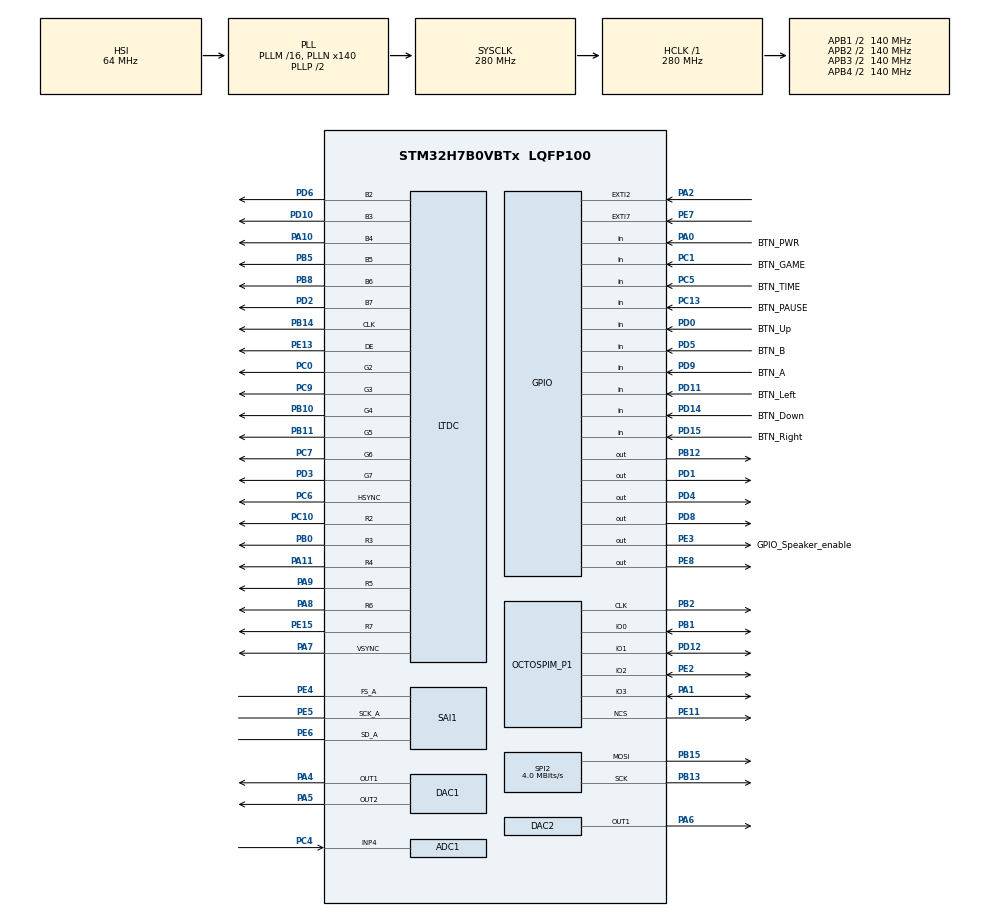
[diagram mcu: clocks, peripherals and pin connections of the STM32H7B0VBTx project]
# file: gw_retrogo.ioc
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SPI2.VirtualType=VM_MASTER
PB10.Mode=RGB666
SAI1.FIFOThreshold-SAI_A_Master=SAI_FIFOTHRESHOLD_FULL
SH.COMP_DAC21_group.0=DAC2_OUT1,DAC_OUT1
VP_RTC_VS_RTC_Activate.Mode=RTC_Enabled
PB13.Signal=SPI2_SCK
SAI1.Instance-SAI_A_Master=SAI$Index_Block_A
RCC.SYSCLKSource=RCC_SYSCLKSOURCE_PLLCLK
RCC.SPI123CLockSelection=RCC_SPI123CLKSOURCE_CLKP
OCTOSPI1.ChipSelectBoundary=0
CORTEX_M7.Enable-Cortex_Memory_Protection_Unit_Region0_Settings=MPU_REGION_ENABLE
RTC.SynchPrediv=255
PE2.Mode=OCTOSPI1_IOL_Port1L
PD4.Signal=GPIO_Output
PC7.Signal=LTDC_G6
PB12.PinState=GPIO_PIN_SET
PD0.Signal=GPIO_Input
PD8.Signal=GPIO_Output
PE5.Signal=SAI1_SCK_A
SH.ADCx_INP4.0=ADC1_INP4,IN4-Single-Ended
PB2.Signal=OCTOSPIM_P1_CLK
RCC.DIVM3=4
PC1.GPIO_PuPd=GPIO_PULLUP
VP_OCTOSPI1_VS_quad.Mode=quad_mode
RCC.DIVM2=25
RCC.DIVM1=16
LTDC.PixelFormat_L0=LTDC_PIXEL_FORMAT_L8
RCC.SAI1CLockSelection=RCC_SAI1CLKSOURCE_PLL2
Dma.SAI1_A.0.Polarity=HAL_DMAMUX_REQ_GEN_RISING
PB14.Mode=RGB666
PC9.Mode=RGB666
SPI2.CalculateBaudRate=4.0 MBits/s
PE2.Signal=OCTOSPIM_P1_IO2
PA8.Signal=LTDC_R6
PD14.GPIO_PuPd=GPIO_PULLUP
PE13.Mode=RGB666
NVIC.SAI1_IRQn=true\:0\:0\:false\:false\:true\:true\:true
PD3.Mode=RGB666
LTDC.HSync=10
ADC1.SamplingTime-0\#ChannelRegularConversion=ADC_SAMPLETIME_1CYCLE_5
PA0.Signal=GPIO_Input
CORTEX_M7.DisableExec-Cortex_Memory_Protection_Unit_Region1_Settings=MPU_INSTRUCTION_ACCESS_DISABLE
Dma.SAI1_A.0.PeriphBurst=DMA_PBURST_SINGLE
Mcu.Package=LQFP100
PB1.Signal=OCTOSPIM_P1_IO0
SPI2.Mode=SPI_MODE_MASTER
RCC.PLL3FRACN=0
PD12.Signal=OCTOSPIM_P1_IO1
PA10.Signal=LTDC_B4
VP_RTC_VS_RTC_Calendar.Mode=RTC_Calendar
Dma.SAI1_A.0.SyncSignalID=NONE
SAI1.VirtualMode-SAI_A_Master=VM_MASTER
NVIC.EXTI2_IRQn=true\:0\:0\:false\:false\:true\:true\:true
LTDC.VSync=2
RCC.APB4Freq_Value=140000000
CORTEX_M7.Enable-Cortex_Memory_Protection_Unit_Region1_Settings=MPU_REGION_ENABLE
PB13.Mode=TX_Only_Simplex_Unidirect_Master
PD9.GPIO_PuPd=GPIO_PULLUP
PD15.Signal=GPIO_Input
Dma.SAI1_A.0.FIFOThreshold=DMA_FIFO_THRESHOLD_FULL
RCC.VDD_VALUE=1.8
DAC1.DAC_Channel-DAC_OUT2=DAC_CHANNEL_2
ADC1.Rank-0\#ChannelRegularConversion=1
PD9.GPIO_Label=BTN_A
VP_SAI1_VP_$IpInstance_SAIA_SAI_BASIC.Mode=SAI_A_BASIC
ADC1.OffsetNumber-0\#ChannelRegularConversion=ADC_OFFSET_NONE
PC13.Signal=GPIO_Input
PD3.Signal=LTDC_G7
PC6.Signal=LTDC_HSYNC
PD1.Signal=GPIO_Output
RCC.DIVP2=5
PC0.Signal=LTDC_G2
PC14-OSC32_IN.Signal=RCC_OSC32_IN
PD6.Mode=RGB666
SAI1.RealAudioFreq-SAI_A_Master=48.0 KHz
LTDC.ImageWidth_L0=320
PD10.Signal=LTDC_B3
PD4.PinState=GPIO_PIN_RESET
RCC.CDPPRE1=RCC_APB1_DIV2
RCC.CDPPRE2=RCC_APB2_DIV2
PB11.Mode=RGB666
Dma.SAI1_A.0.RequestNumber=1
SH.COMP_DAC11_group.0=DAC1_OUT1,DAC_OUT1
PC6.Mode=RGB666
PA9.Signal=LTDC_R5
RCC.DIVN3=9
RCC.DIVN2=192
RCC.DIVN1=140
CORTEX_M7.BaseAddress-Cortex_Memory_Protection_Unit_Region0_Settings=0x30000000
ADC1.OffsetSignedSaturation-0\#ChannelRegularConversion=DISABLE
PB10.Signal=LTDC_G4
PB14.Signal=LTDC_CLK
PA5.Signal=COMP_DAC12_group
Dma.SAI1_A.0.PeriphInc=DMA_PINC_DISABLE
PA1.Mode=OCTOSPI1_IOL_Port1L
PE6.Mode=SAI_A_Master
PE15.Signal=LTDC_R7
PE8.Signal=GPIO_Output
SAI1.MckOutput=SAI_MCK_OUTPUT_DISABLE
CORTEX_M7.AccessPermission-Cortex_Memory_Protection_Unit_Region0_Settings=MPU_REGION_FULL_ACCESS
Dma.SAI1_A.0.SyncRequestNumber=1
RCC.CDPPRE=RCC_APB3_DIV2
OCTOSPI1.FifoThreshold=4
PA4.Signal=COMP_DAC11_group
OCTOSPI1.MemoryType=HAL_OSPI_MEMTYPE_MACRONIX
PB5.Signal=LTDC_B5
ADC1.master=1
PD12.Mode=OCTOSPI1_IOL_Port1L
PD11.Signal=GPIO_Input
PD1.PinState=GPIO_PIN_RESET
LTDC.Alpha_L0=255
PA11.Signal=LTDC_R4
ProjectManager.HeapSize=0x200
PB1.Mode=OCTOSPI1_IOL_Port1L
PD0.GPIO_PuPd=GPIO_PULLUP
NVIC.PriorityGroup=NVIC_PRIORITYGROUP_4
OCTOSPI1.FreeRunningClock=HAL_OSPI_FREERUNCLK_DISABLE
PB8.Mode=RGB666
PE3.Signal=GPIO_Output
PA8.Mode=RGB666
SPI2.DataSize=SPI_DATASIZE_8BIT
PD2.Signal=LTDC_B7
RCC.DIVR3=24
RCC.DIVR2=5
PB0.Signal=LTDC_R3
Dma.SAI1_A.0.FIFOMode=DMA_FIFOMODE_ENABLE
PC1.Signal=GPIO_Input
Dma.SAI1_A.0.Instance=DMA1_Stream0
Dma.SAI1_A.0.PeriphDataAlignment=DMA_PDATAALIGN_HALFWORD
SAI1.InitProtocol-SAI_A_Master=Enable
LTDC.Alpha0_L0=255
PE15.Mode=RGB666
Mcu.Family=STM32H7
RCC.CortexFreq_Value=280000000
OCTOSPI1.DeviceSize=24
LTDC.HBP=51
SH.COMP_DAC12_group.0=DAC1_OUT2,DAC_OUT2
PC10.Signal=LTDC_R2
PA0.GPIO_Label=BTN_PWR
SAI1.VirtualProtocol-SAI_A_BASIC=VM_BASIC_PROTOCOL
PD0.GPIO_Label=BTN_Up
PA11.Mode=RGB666
PC13.GPIO_Label=BTN_PAUSE
PB11.Signal=LTDC_G5
PB15.Signal=SPI2_MOSI
LTDC.PCPolarity=LTDC_PCPOLARITY_IIPC
ProjectManager.StackSize=0x400
PD11.GPIO_PuPd=GPIO_PULLUP
NVIC.ADC_IRQn=true\:0\:0\:false\:false\:true\:true\:true
OCTOSPI1.ClockPrescaler=1
PE11.Mode=OCTOSPI1_Port1_NCS
PD11.GPIO_Label=BTN_Left
RCC.HCLKFreq_Value=280000000
LTDC.WindowX1_L0=320
PD10.Mode=RGB666
Dma.SAI1_A.0.SyncPolarity=HAL_DMAMUX_SYNC_NO_EVENT
SPI2.BaudRatePrescaler=SPI_BAUDRATEPRESCALER_16
PE3.PinState=GPIO_PIN_SET
ADC1.Channel-0\#ChannelRegularConversion=ADC_CHANNEL_4
LTDC.VBP=6
PE13.Signal=LTDC_DE
PC14-OSC32_IN.Mode=LSE-External-Oscillator
OCTOSPI1.ChipSelectHighTime=2
PB5.Mode=RGB666
PC13.GPIO_PuPd=GPIO_PULLUP
Dma.SAI1_A.0.EventEnable=DISABLE
RTC.AsynchPrediv=127
LTDC.HFP=12
PE4.Mode=SAI_A_Master
LTDC.ActiveW=320
PE4.Signal=SAI1_FS_A
CORTEX_M7.DisableExec-Cortex_Memory_Protection_Unit_Region0_Settings=MPU_INSTRUCTION_ACCESS_DISABLE
RCC.APB3Freq_Value=140000000
PA6.Signal=COMP_DAC21_group
CORTEX_M7.BaseAddress-Cortex_Memory_Protection_Unit_Region1_Settings=0x24000000
Dma.SAI1_A.0.MemDataAlignment=DMA_MDATAALIGN_HALFWORD
PD5.GPIO_Label=BTN_B
PD15.GPIO_PuPd=GPIO_PULLUP
CORTEX_M7.Size-Cortex_Memory_Protection_Unit_Region1_Settings=MPU_REGION_SIZE_512KB
NVIC.DMA1_Stream0_IRQn=true\:0\:0\:false\:false\:true\:false\:true
SPI2.Direction=SPI_DIRECTION_2LINES_TXONLY
PC5.Signal=GPIO_Input
PE7.Signal=GPXTI7
PD6.Signal=LTDC_B2
SAI1.MonoStereoMode-SAI_A_Master=SAI_MONOMODE
Dma.Request0=SAI1_A
RCC.SRDPPRE=RCC_APB4_DIV2
PC15-OSC32_OUT.Mode=LSE-External-Oscillator
NVIC.LTDC_IRQn=true\:0\:0\:false\:false\:true\:true\:true
LTDC.FBStartAdress_L0=0x24000000
OCTOSPI1.ClockMode=HAL_OSPI_CLOCK_MODE_0
CORTEX_M7.CPU_ICache=Disabled
LTDC.VFP=8
PD15.GPIO_Label=BTN_Right
LTDC.WindowY1_L0=240
PA7.Mode=RGB666
PA10.Mode=RGB666
Dma.SAI1_A.0.Direction=DMA_MEMORY_TO_PERIPH
RCC.RCC_TIM_PRescaler_Selection=RCC_TIMPRES_ACTIVATED
Dma.SAI1_A.0.SignalID=NONE
SPI2.NSSPMode=SPI_NSS_PULSE_DISABLE
PC4.Signal=ADCx_INP4
PC10.Mode=RGB666
PD9.Signal=GPIO_Input
PD5.Signal=GPIO_Input
PC5.GPIO_PuPd=GPIO_PULLUP
Dma.SAI1_A.0.MemInc=DMA_MINC_ENABLE
PC0.Mode=RGB666
CORTEX_M7.MPU_Control=MPU_HFNMI_PRIVDEF
PA9.Mode=RGB666
ProjectManager.TargetToolchain=Makefile
Dma.SAI1_A.0.Mode=DMA_CIRCULAR
LTDC.ActiveH=240
SAI1.ErrorAudioFreq-SAI_A_Master=0.0 %
RCC.USBFreq_Value=280000000
PE11.Signal=OCTOSPIM_P1_NCS
PC15-OSC32_OUT.Signal=RCC_OSC32_OUT
PA1.Signal=OCTOSPIM_P1_IO3
SAI1.AudioFrequency-SAI_A_Master=SAI_AUDIO_FREQUENCY_48K
Dma.SAI1_A.0.Priority=DMA_PRIORITY_LOW
PD2.Mode=RGB666
PB0.Mode=RGB666
board=custom
PB15.Mode=TX_Only_Simplex_Unidirect_Master
RCC.APB2Freq_Value=140000000
LTDC.Layers=0
PE5.Mode=SAI_A_Master
RCC.ADCFreq_Value=98304000
PC1.GPIO_Label=BTN_GAME
PE7.GPIO_ModeDefaultEXTI=GPIO_MODE_IT_RISING_FALLING
PD5.GPIO_PuPd=GPIO_PULLUP
PD14.GPIO_Label=BTN_Down
PE6.Signal=SAI1_SD_A
Mcu.Name=STM32H7B0VBTx
CORTEX_M7.Size-Cortex_Memory_Protection_Unit_Region0_Settings=MPU_REGION_SIZE_128KB
NVIC.OCTOSPI1_IRQn=true\:0\:0\:false\:true\:true\:1\:true\:true
PA2.Signal=GPXTI2
CORTEX_M7.AccessPermission-Cortex_Memory_Protection_Unit_Region1_Settings=MPU_REGION_FULL_ACCESS
PD14.Signal=GPIO_Input
RCC.SYSCLKFreq_VALUE=280000000
PC5.GPIO_Label=BTN_TIME
PB2.Mode=O1_P1_CLK
RCC.QSPICLockSelection=RCC_OSPICLKSOURCE_CLKP
LTDC.Green_L0=255
NVIC.EXTI9_5_IRQn=true\:0\:0\:false\:false\:true\:true\:true
Dma.SAI1_A.0.MemBurst=DMA_MBURST_SINGLE
PA2.GPIO_ModeDefaultEXTI=GPIO_MODE_IT_RISING_FALLING
ADC1.NbrOfConversionFlag=1
PB8.Signal=LTDC_B6
PE3.GPIO_Label=GPIO_Speaker_enable
PC9.Signal=LTDC_G3
PC7.Mode=RGB666
RCC.APB1Freq_Value=140000000
PD8.PinState=GPIO_PIN_SET
LTDC.ImageHeight_L0=240
PB12.Signal=GPIO_Output
Dma.SAI1_A.0.SyncEnable=DISABLE
PA7.Signal=LTDC_VSYNC

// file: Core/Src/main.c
/* USER CODE BEGIN Header */
/**
  ******************************************************************************
  * @file           : main.c
  * @brief          : Main program body
  ******************************************************************************
  * @attention
  *
  * <h2><center>&copy; Copyright (c) 2020 STMicroelectronics.
  * All rights reserved.</center></h2>
  *
  * This software component is licensed by ST under BSD 3-Clause license,
  * the "License"; You may not use this file except in compliance with the
  * License. You may obtain a copy of the License at:
  *                        opensource.org/licenses/BSD-3-Clause
  *
  ******************************************************************************
  */
/* USER CODE END Header */
#include "main.h"

/* USER CODE BEGIN Includes */
#include "stm32h7xx_hal.h"
#include "gw_buttons.h"
#include "gw_flash.h"
#include "gw_lcd.h"
#include "gw_linker.h"
#include "githash.h"
#include "bq24072.h"

#include "odroid_colors.h"
#include "odroid_overlay.h"

#include <string.h>
#include <assert.h>
#include <stdio.h>
/* USER CODE END Includes */

ADC_HandleTypeDef hadc1;

DAC_HandleTypeDef hdac1;
DAC_HandleTypeDef hdac2;

LTDC_HandleTypeDef hltdc;

OSPI_HandleTypeDef hospi1;

RTC_HandleTypeDef hrtc;

SAI_HandleTypeDef hsai_BlockA1;
DMA_HandleTypeDef hdma_sai1_a;

SPI_HandleTypeDef hspi2;

/* USER CODE BEGIN PV */

char logbuf[1024 * 4];
uint32_t log_idx;

uint32_t boot_buttons;

#define BOOT_MAGIC_STANDBY  0xfedebeda
#define BOOT_MAGIC_RESET    0x1fa1afe1
__attribute__((used)) __attribute__((section (".persistent"))) volatile uint32_t boot_magic;

/* USER CODE END PV */

void SystemClock_Config(void);
static void MPU_Config(void);
static void MX_GPIO_Init(void);
static void MX_DMA_Init(void);
static void MX_LTDC_Init(void);
static void MX_SPI2_Init(void);
static void MX_OCTOSPI1_Init(void);
static void MX_SAI1_Init(void);
static void MX_RTC_Init(void);
static void MX_DAC1_Init(void);
static void MX_DAC2_Init(void);
static void MX_ADC1_Init(void);
static void MX_NVIC_Init(void);
/* USER CODE BEGIN PFP */

void app_main(void);

/* USER CODE END PFP */

/* USER CODE BEGIN 0 */

const char *fault_list[] = {
  [BSOD_ABORT] = "Assert",
  [BSOD_HARDFAULT] = "Hardfault",
  [BSOD_MEMFAULT] = "Memfault",
  [BSOD_BUSFAULT] = "Busfault",
  [BSOD_USAGEFAULT] = "Usagefault",
  [BSOD_OTHER] = "Other",
};

__attribute__((optimize("-O0"))) void BSOD(BSOD_t fault, void *pc, void *lr)
{
  char msg[256];
  size_t i = 0;
  char *start;
  char *end;
  char *line;
  int y = 2*8;

  __disable_irq();

  snprintf(msg, sizeof(msg), "FATAL EXCEPTION: %s %s\nPC=%p LR=%p\n", fault_list[fault], GIT_HASH, pc, lr);

  lcd_sync();
  lcd_reset_active_buffer();

  odroid_overlay_draw_text(0, 0, GW_LCD_WIDTH, msg, C_RED, C_BLUE);

  // Print each line from the log in reverse
  end = &logbuf[strnlen(logbuf, sizeof(logbuf))];
  while (y < GW_LCD_HEIGHT) {
    // Max 28 lines
    if (i++ >= 28) {
      break;
    }

    // Find the last line start not beyond end (inefficient but simple solution)
    start = logbuf;
    while (start < end) {
      line = start;
      start = strnstr(start, "\n", end - start) + 1;
      end[0] = '\x00';
    }
    end = line;

    y += odroid_overlay_draw_text(0, y, GW_LCD_WIDTH, line, C_WHITE, C_BLUE);

    if (line == logbuf) {
      // No more lines to print
      break;
    }
  }

  // Wait for a button press (allows a user to hold and release a button when the BSOD occurs)
  uint32_t old_buttons = buttons_get();
  while ((buttons_get() == 0 || (buttons_get() == old_buttons))) {
    __NOP();
  }

  HAL_NVIC_SystemReset();

  // Does not return
  while (1) {
    __NOP();
  }
}

// Used by assert()
void abort(void)
{
  BSOD(BSOD_ABORT, 0, 0);
}

#if 1
int _write(int file, char *ptr, int len)
{
  if (log_idx + len + 1 > sizeof(logbuf)) {
    log_idx = 0;
  }

  memcpy(&logbuf[log_idx], ptr, len);
  log_idx += len;
  logbuf[log_idx + 1] = '\0';

  return len;
}
#endif

void store_erase(const uint8_t *flash_ptr, size_t size)
{
  uint32_t i;

  // Only allow pointers in the SAVEFLASH allocated area
  assert((flash_ptr >= &__SAVEFLASH_START__) && ((flash_ptr + size) <= &__SAVEFLASH_END__));

  // Convert mem mapped pointer to flash address
  uint32_t save_address = flash_ptr - &__EXTFLASH_START__;

  // Only allow 64kB aligned pointers
  assert((save_address & (64*1024 - 1)) == 0);

  OSPI_DisableMemoryMapped(&hospi1);
  OSPI_NOR_WriteEnable(&hospi1);

  size_t blocks = size / (64 * 1024);
  if ((size & (64*1024 - 1)) != 0) {
    blocks++;
  }

  for (i = 0; i < blocks; i++) {
    OSPI_BlockErase(&hospi1, save_address + i * 64 * 1024);
  }

  OSPI_EnableMemoryMappedMode(&hospi1);
}

void store_save(const uint8_t *flash_ptr, const uint8_t *data, size_t size)
{
  // Convert mem mapped pointer to flash address
  uint32_t save_address = flash_ptr - &__EXTFLASH_START__;

  // Only allow 64kB aligned pointers
  assert((save_address & (64*1024 - 1)) == 0);

  store_erase(flash_ptr, size);

  OSPI_DisableMemoryMapped(&hospi1);
  OSPI_NOR_WriteEnable(&hospi1);

  OSPI_Program(&hospi1, save_address, data, size);

  OSPI_EnableMemoryMappedMode(&hospi1);
}

void GW_EnterDeepSleep(void)
{
  // Stop SAI DMA (audio)
  HAL_SAI_DMAStop(&hsai_BlockA1);

  // Enable wakup by PIN1, the power button
  HAL_PWR_EnableWakeUpPin(PWR_WAKEUP_PIN1_LOW);

  lcd_backlight_off();

  // Leave a trace in RAM that we entered standby mode
  boot_magic = BOOT_MAGIC_STANDBY;

  // Delay 500ms to give us a chance to attach a debugger in case
  // we end up in a suspend-loop.
  HAL_Delay(500);

  HAL_PWR_EnterSTANDBYMode();

  // Execution stops here, this function will not return
  while(1) {
    // If we for some reason survive until here, let's just reboot
    HAL_NVIC_SystemReset();
  }

}

// Returns buttons that were pressed at boot
uint32_t GW_GetBootButtons(void)
{
  return boot_buttons;
}

// Workaround for being able to run with -D_FORTIFY_SOURCE=1
static void memcpy_no_check(uint32_t *dst, uint32_t *src, size_t len)
{
  assert((len & 0b11) == 0);

  uint32_t *end = dst + len / 4;
  while (dst != end) {
    *(dst++) = *(src++);
  }
}

/* USER CODE END 0 */

int main(void)
{
  /* USER CODE BEGIN 1 */

  for(int i = 0; i < 1000000; i++) {
    __NOP();
  }

  // Nullpointer redzone
#pragma GCC diagnostic push
#pragma GCC diagnostic ignored "-Wnonnull"
  memset(0x0, '\x41', (size_t)&__NULLPTR_LENGTH__);
#pragma GCC diagnostic pop

  switch (boot_magic) {
  case BOOT_MAGIC_STANDBY:
    printf("Boot from standby. boot_magic=0x%08lx\n", boot_magic);
    break;
  case BOOT_MAGIC_RESET:
    printf("Boot from warm reset. boot_magic=0x%08lx\n", boot_magic);
    break;
  default:
    printf("Boot from brownout? boot_magic=0x%08lx\n", boot_magic);
    break;
  }

  // Leave a trace that indicates a warm reset
  boot_magic = BOOT_MAGIC_RESET;

  /* USER CODE END 1 */

  /* MPU Configuration--------------------------------------------------------*/
  MPU_Config();

  /* MCU Configuration--------------------------------------------------------*/

  /* Reset of all peripherals, Initializes the Flash interface and the Systick. */
  HAL_Init();

  /* USER CODE BEGIN Init */

  // Power pin as Input
  HAL_PWR_DisableWakeUpPin(PWR_WAKEUP_PIN1_LOW);

  /* USER CODE END Init */

  /* Configure the system clock */
  SystemClock_Config();

  /* Initialize all configured peripherals */
  MX_GPIO_Init();
  MX_DMA_Init();
  MX_LTDC_Init();
  MX_SPI2_Init();
  MX_OCTOSPI1_Init();
  MX_SAI1_Init();
  MX_RTC_Init();
  MX_DAC1_Init();
  MX_DAC2_Init();
  MX_ADC1_Init();

  /* Initialize interrupts */
  MX_NVIC_Init();
  /* USER CODE BEGIN 2 */

  // Save the button states as early as possible
  boot_buttons = buttons_get();

  // Keep this
  HAL_Delay(500);

  lcd_init(&hspi2, &hltdc);

  /* USER CODE END 2 */

  /* Infinite loop */
  /* USER CODE BEGIN WHILE */

  SCB_EnableICache();
  SCB_EnableDCache();

  // Initialize the external flash

  // SPI_MODE or QUAD_MODE (IS25WP128F & co) or HALF_QUAD_MODE (MX25U8035F/Nintendo Stock Flash)
  quad_mode_t quad_mode = HALF_QUAD_MODE;

  OSPI_Init(&hospi1, quad_mode);

  OSPI_EnableMemoryMappedMode(&hospi1);

  // Copy instructions and data from extflash to axiram
  void *copy_areas[3];

  copy_areas[0] = &_siramdata;  // 0x90000000
  copy_areas[1] = &__ram_exec_start__;  // 0x24000000
  copy_areas[2] = &__ram_exec_end__;  // 0x24000000 + length
  memcpy_no_check(copy_areas[1], copy_areas[0], copy_areas[2] - copy_areas[1]);

  // Copy ITCRAM HOT section
  static uint32_t copy_areas2[4] __attribute__((used));
  copy_areas2[0] = (uint32_t) &_sitcram_hot;
  copy_areas2[1] = (uint32_t) &__itcram_hot_start__;
  copy_areas2[2] = (uint32_t) &__itcram_hot_end__;
  copy_areas2[3] = copy_areas2[2] - copy_areas2[1];
  memcpy_no_check((uint32_t *) copy_areas2[1], (uint32_t *) copy_areas2[0], copy_areas2[3]);

  // Sanity check, sometimes this is triggered
  uint32_t add = 0x90000000;
  uint32_t* ptr = (uint32_t*)add;
  if(*ptr == 0x88888888) {
    Error_Handler();
  }

  bq24072_init();

  // Launch the emulator
  app_main();

  while (1)
  {
    /* USER CODE END WHILE */

  }
}

void SystemClock_Config(void)
{
  RCC_OscInitTypeDef RCC_OscInitStruct = {0};
  RCC_ClkInitTypeDef RCC_ClkInitStruct = {0};
  RCC_PeriphCLKInitTypeDef PeriphClkInitStruct = {0};

  /** Supply configuration update enable
  */
  HAL_PWREx_ConfigSupply(PWR_LDO_SUPPLY);
  /** Configure the main internal regulator output voltage
  */
  __HAL_PWR_VOLTAGESCALING_CONFIG(PWR_REGULATOR_VOLTAGE_SCALE0);

  while(!__HAL_PWR_GET_FLAG(PWR_FLAG_VOSRDY)) {}
  /** Macro to configure the PLL clock source
  */
  __HAL_RCC_PLL_PLLSOURCE_CONFIG(RCC_PLLSOURCE_HSI);
  /** Initializes the RCC Oscillators according to the specified parameters
  * in the RCC_OscInitTypeDef structure.
  */
  RCC_OscInitStruct.OscillatorType = RCC_OSCILLATORTYPE_HSI|RCC_OSCILLATORTYPE_LSI;
  RCC_OscInitStruct.HSIState = RCC_HSI_DIV1;
  RCC_OscInitStruct.HSICalibrationValue = RCC_HSICALIBRATION_DEFAULT;
  RCC_OscInitStruct.LSIState = RCC_LSI_ON;
  RCC_OscInitStruct.PLL.PLLState = RCC_PLL_ON;
  RCC_OscInitStruct.PLL.PLLSource = RCC_PLLSOURCE_HSI;
  RCC_OscInitStruct.PLL.PLLM = 16;
  RCC_OscInitStruct.PLL.PLLN = 140;
  RCC_OscInitStruct.PLL.PLLP = 2;
  RCC_OscInitStruct.PLL.PLLQ = 2;
  RCC_OscInitStruct.PLL.PLLR = 2;
  RCC_OscInitStruct.PLL.PLLRGE = RCC_PLL1VCIRANGE_2;
  RCC_OscInitStruct.PLL.PLLVCOSEL = RCC_PLL1VCOWIDE;
  RCC_OscInitStruct.PLL.PLLFRACN = 0;
  if (HAL_RCC_OscConfig(&RCC_OscInitStruct) != HAL_OK)
  {
    Error_Handler();
  }
  /** Initializes the CPU, AHB and APB buses clocks
  */
  RCC_ClkInitStruct.ClockType = RCC_CLOCKTYPE_HCLK|RCC_CLOCKTYPE_SYSCLK
                              |RCC_CLOCKTYPE_PCLK1|RCC_CLOCKTYPE_PCLK2
                              |RCC_CLOCKTYPE_D3PCLK1|RCC_CLOCKTYPE_D1PCLK1;
  RCC_ClkInitStruct.SYSCLKSource = RCC_SYSCLKSOURCE_PLLCLK;
  RCC_ClkInitStruct.SYSCLKDivider = RCC_SYSCLK_DIV1;
  RCC_ClkInitStruct.AHBCLKDivider = RCC_HCLK_DIV1;
  RCC_ClkInitStruct.APB3CLKDivider = RCC_APB3_DIV2;
  RCC_ClkInitStruct.APB1CLKDivider = RCC_APB1_DIV2;
  RCC_ClkInitStruct.APB2CLKDivider = RCC_APB2_DIV2;
  RCC_ClkInitStruct.APB4CLKDivider = RCC_APB4_DIV2;

  if (HAL_RCC_ClockConfig(&RCC_ClkInitStruct, FLASH_LATENCY_7) != HAL_OK)
  {
    Error_Handler();
  }
  PeriphClkInitStruct.PeriphClockSelection = RCC_PERIPHCLK_RTC|RCC_PERIPHCLK_LTDC
                              |RCC_PERIPHCLK_SPI2|RCC_PERIPHCLK_SAI1
                              |RCC_PERIPHCLK_ADC
                              |RCC_PERIPHCLK_OSPI|RCC_PERIPHCLK_CKPER;
  PeriphClkInitStruct.PLL2.PLL2M = 25;
  PeriphClkInitStruct.PLL2.PLL2N = 192;
  PeriphClkInitStruct.PLL2.PLL2P = 5;
  PeriphClkInitStruct.PLL2.PLL2Q = 2;
  PeriphClkInitStruct.PLL2.PLL2R = 5;
  PeriphClkInitStruct.PLL2.PLL2RGE = RCC_PLL2VCIRANGE_1;
  PeriphClkInitStruct.PLL2.PLL2VCOSEL = RCC_PLL2VCOWIDE;
  PeriphClkInitStruct.PLL2.PLL2FRACN = 0;
  PeriphClkInitStruct.PLL3.PLL3M = 4;
  PeriphClkInitStruct.PLL3.PLL3N = 9;
  PeriphClkInitStruct.PLL3.PLL3P = 2;
  PeriphClkInitStruct.PLL3.PLL3Q = 2;
  PeriphClkInitStruct.PLL3.PLL3R = 24;
  PeriphClkInitStruct.PLL3.PLL3RGE = RCC_PLL3VCIRANGE_3;
  PeriphClkInitStruct.PLL3.PLL3VCOSEL = RCC_PLL3VCOWIDE;
  PeriphClkInitStruct.PLL3.PLL3FRACN = 0;
  PeriphClkInitStruct.OspiClockSelection = RCC_OSPICLKSOURCE_CLKP;
  PeriphClkInitStruct.CkperClockSelection = RCC_CLKPSOURCE_HSI;
  PeriphClkInitStruct.Sai1ClockSelection = RCC_SAI1CLKSOURCE_PLL2;
  PeriphClkInitStruct.Spi123ClockSelection = RCC_SPI123CLKSOURCE_CLKP;
  PeriphClkInitStruct.AdcClockSelection = RCC_ADCCLKSOURCE_PLL2;
  PeriphClkInitStruct.RTCClockSelection = RCC_RTCCLKSOURCE_LSI;
  PeriphClkInitStruct.TIMPresSelection = RCC_TIMPRES_ACTIVATED;

  if (HAL_RCCEx_PeriphCLKConfig(&PeriphClkInitStruct) != HAL_OK)
  {
    Error_Handler();
  }
}

/**
  * @brief NVIC Configuration.
  * @retval None
  */
static void MX_NVIC_Init(void)
{
  /* OCTOSPI1_IRQn interrupt configuration */
  HAL_NVIC_SetPriority(OCTOSPI1_IRQn, 0, 0);
  HAL_NVIC_EnableIRQ(OCTOSPI1_IRQn);
}

static void MX_ADC1_Init(void)
{

  ADC_MultiModeTypeDef multimode = {0};
  ADC_ChannelConfTypeDef sConfig = {0};

  /** Common config
  */
  hadc1.Instance = ADC1;
  hadc1.Init.ClockPrescaler = ADC_CLOCK_ASYNC_DIV1;
  hadc1.Init.Resolution = ADC_RESOLUTION_16B;
  hadc1.Init.ScanConvMode = ADC_SCAN_DISABLE;
  hadc1.Init.EOCSelection = ADC_EOC_SINGLE_CONV;
  hadc1.Init.LowPowerAutoWait = DISABLE;
  hadc1.Init.ContinuousConvMode = DISABLE;
  hadc1.Init.NbrOfConversion = 1;
  hadc1.Init.DiscontinuousConvMode = DISABLE;
  hadc1.Init.ExternalTrigConv = ADC_SOFTWARE_START;
  hadc1.Init.ExternalTrigConvEdge = ADC_EXTERNALTRIGCONVEDGE_NONE;
  hadc1.Init.ConversionDataManagement = ADC_CONVERSIONDATA_DR;
  hadc1.Init.Overrun = ADC_OVR_DATA_PRESERVED;
  hadc1.Init.LeftBitShift = ADC_LEFTBITSHIFT_NONE;
  hadc1.Init.OversamplingMode = DISABLE;
  if (HAL_ADC_Init(&hadc1) != HAL_OK)
  {
    Error_Handler();
  }
  /** Configure the ADC multi-mode
  */
  multimode.Mode = ADC_MODE_INDEPENDENT;
  if (HAL_ADCEx_MultiModeConfigChannel(&hadc1, &multimode) != HAL_OK)
  {
    Error_Handler();
  }
  /** Configure Regular Channel
  */
  sConfig.Channel = ADC_CHANNEL_4;
  sConfig.Rank = ADC_REGULAR_RANK_1;
  sConfig.SamplingTime = ADC_SAMPLETIME_1CYCLE_5;
  sConfig.SingleDiff = ADC_SINGLE_ENDED;
  sConfig.OffsetNumber = ADC_OFFSET_NONE;
  sConfig.Offset = 0;
  sConfig.OffsetSignedSaturation = DISABLE;
  if (HAL_ADC_ConfigChannel(&hadc1, &sConfig) != HAL_OK)
  {
    Error_Handler();
  }

}

static void MX_DAC1_Init(void)
{

  DAC_ChannelConfTypeDef sConfig = {0};

  /** DAC Initialization
  */
  hdac1.Instance = DAC1;
  if (HAL_DAC_Init(&hdac1) != HAL_OK)
  {
    Error_Handler();
  }
  /** DAC channel OUT1 config
  */
  sConfig.DAC_SampleAndHold = DAC_SAMPLEANDHOLD_DISABLE;
  sConfig.DAC_Trigger = DAC_TRIGGER_NONE;
  sConfig.DAC_OutputBuffer = DAC_OUTPUTBUFFER_ENABLE;
  sConfig.DAC_ConnectOnChipPeripheral = DAC_CHIPCONNECT_DISABLE;
  sConfig.DAC_UserTrimming = DAC_TRIMMING_FACTORY;
  if (HAL_DAC_ConfigChannel(&hdac1, &sConfig, DAC_CHANNEL_1) != HAL_OK)
  {
    Error_Handler();
  }
  /** DAC channel OUT2 config
  */
  sConfig.DAC_ConnectOnChipPeripheral = DAC_SAMPLEANDHOLD_DISABLE;
  if (HAL_DAC_ConfigChannel(&hdac1, &sConfig, DAC_CHANNEL_2) != HAL_OK)
  {
    Error_Handler();
  }

}

static void MX_DAC2_Init(void)
{

  DAC_ChannelConfTypeDef sConfig = {0};

  /** DAC Initialization
  */
  hdac2.Instance = DAC2;
  if (HAL_DAC_Init(&hdac2) != HAL_OK)
  {
    Error_Handler();
  }
  /** DAC channel OUT1 config
  */
  sConfig.DAC_SampleAndHold = DAC_SAMPLEANDHOLD_DISABLE;
  sConfig.DAC_Trigger = DAC_TRIGGER_NONE;
  sConfig.DAC_OutputBuffer = DAC_OUTPUTBUFFER_ENABLE;
  sConfig.DAC_ConnectOnChipPeripheral = DAC_CHIPCONNECT_DISABLE;
  sConfig.DAC_UserTrimming = DAC_TRIMMING_FACTORY;
  if (HAL_DAC_ConfigChannel(&hdac2, &sConfig, DAC_CHANNEL_1) != HAL_OK)
  {
    Error_Handler();
  }

}

static void MX_LTDC_Init(void)
{

  LTDC_LayerCfgTypeDef pLayerCfg = {0};

  hltdc.Instance = LTDC;
  hltdc.Init.HSPolarity = LTDC_HSPOLARITY_AL;
  hltdc.Init.VSPolarity = LTDC_VSPOLARITY_AL;
  hltdc.Init.DEPolarity = LTDC_DEPOLARITY_AL;
  hltdc.Init.PCPolarity = LTDC_PCPOLARITY_IIPC;
  hltdc.Init.HorizontalSync = 9;
  hltdc.Init.VerticalSync = 1;
  hltdc.Init.AccumulatedHBP = 60;
  hltdc.Init.AccumulatedVBP = 7;
  hltdc.Init.AccumulatedActiveW = 380;
  hltdc.Init.AccumulatedActiveH = 247;
  hltdc.Init.TotalWidth = 392;
  hltdc.Init.TotalHeigh = 255;
  hltdc.Init.Backcolor.Blue = 0;
  hltdc.Init.Backcolor.Green = 0;
  hltdc.Init.Backcolor.Red = 0;
  if (HAL_LTDC_Init(&hltdc) != HAL_OK)
  {
    Error_Handler();
  }
  pLayerCfg.WindowX0 = 0;
  pLayerCfg.WindowX1 = 320;
  pLayerCfg.WindowY0 = 0;
  pLayerCfg.WindowY1 = 240;
#ifdef GW_LCD_MODE_LUT8
  pLayerCfg.PixelFormat = LTDC_PIXEL_FORMAT_L8;
#else
  pLayerCfg.PixelFormat = LTDC_PIXEL_FORMAT_RGB565;
#endif
  pLayerCfg.Alpha = 255;
  pLayerCfg.Alpha0 = 255;
  pLayerCfg.BlendingFactor1 = LTDC_BLENDING_FACTOR1_CA;
  pLayerCfg.BlendingFactor2 = LTDC_BLENDING_FACTOR2_CA;
  pLayerCfg.FBStartAdress = 0x24000000;
  pLayerCfg.ImageWidth = 320;
  pLayerCfg.ImageHeight = 240;
  pLayerCfg.Backcolor.Blue = 0;
  pLayerCfg.Backcolor.Green = 255;
  pLayerCfg.Backcolor.Red = 0;
  if (HAL_LTDC_ConfigLayer(&hltdc, &pLayerCfg, 0) != HAL_OK)
  {
    Error_Handler();
  }

}

static void MX_OCTOSPI1_Init(void)
{

  OSPIM_CfgTypeDef sOspiManagerCfg = {0};

  /* OCTOSPI1 parameter configuration*/
  hospi1.Instance = OCTOSPI1;
  hospi1.Init.FifoThreshold = 4;
  hospi1.Init.DualQuad = HAL_OSPI_DUALQUAD_DISABLE;
  hospi1.Init.MemoryType = HAL_OSPI_MEMTYPE_MACRONIX;
  hospi1.Init.DeviceSize = 24;
  hospi1.Init.ChipSelectHighTime = 2;
  hospi1.Init.FreeRunningClock = HAL_OSPI_FREERUNCLK_DISABLE;
  hospi1.Init.ClockMode = HAL_OSPI_CLOCK_MODE_0;
  hospi1.Init.WrapSize = HAL_OSPI_WRAP_NOT_SUPPORTED;
  hospi1.Init.ClockPrescaler = 1;
  hospi1.Init.SampleShifting = HAL_OSPI_SAMPLE_SHIFTING_NONE;
  hospi1.Init.DelayHoldQuarterCycle = HAL_OSPI_DHQC_DISABLE;
  hospi1.Init.ChipSelectBoundary = 0;
  hospi1.Init.ClkChipSelectHighTime = 0;
  hospi1.Init.DelayBlockBypass = HAL_OSPI_DELAY_BLOCK_BYPASSED;
  hospi1.Init.MaxTran = 0;
  hospi1.Init.Refresh = 0;
  if (HAL_OSPI_Init(&hospi1) != HAL_OK)
  {
    Error_Handler();
  }
  sOspiManagerCfg.ClkPort = 1;
  sOspiManagerCfg.NCSPort = 1;
  sOspiManagerCfg.IOLowPort = HAL_OSPIM_IOPORT_1_LOW;
  if (HAL_OSPIM_Config(&hospi1, &sOspiManagerCfg, HAL_OSPI_TIMEOUT_DEFAULT_VALUE) != HAL_OK)
  {
    Error_Handler();
  }

}

static void MX_RTC_Init(void)
{

  RTC_TimeTypeDef sTime = {0};
  RTC_DateTypeDef sDate = {0};

  /** Initialize RTC Only
  */
  hrtc.Instance = RTC;
  hrtc.Init.HourFormat = RTC_HOURFORMAT_24;
  hrtc.Init.AsynchPrediv = 0;    // Currently this is configured to allow for profiling
  hrtc.Init.SynchPrediv = 32250; // This the internal 32khz oscillator calibrated to one specific unit
  hrtc.Init.OutPut = RTC_OUTPUT_DISABLE;
  hrtc.Init.OutPutPolarity = RTC_OUTPUT_POLARITY_HIGH;
  hrtc.Init.OutPutType = RTC_OUTPUT_TYPE_OPENDRAIN;
  hrtc.Init.OutPutRemap = RTC_OUTPUT_REMAP_NONE;
  if (HAL_RTC_Init(&hrtc) != HAL_OK)
  {
    Error_Handler();
  }

  /** Initialize RTC and set the Time and Date
  */
  sTime.Hours = 0x0;
  sTime.Minutes = 0x0;
  sTime.Seconds = 0x0;
  sTime.DayLightSaving = RTC_DAYLIGHTSAVING_NONE;
  sTime.StoreOperation = RTC_STOREOPERATION_RESET;
  if (HAL_RTC_SetTime(&hrtc, &sTime, RTC_FORMAT_BCD) != HAL_OK)
  {
    Error_Handler();
  }
  sDate.WeekDay = RTC_WEEKDAY_MONDAY;
  sDate.Month = RTC_MONTH_JANUARY;
  sDate.Date = 0x1;
  sDate.Year = 0x0;

  if (HAL_RTC_SetDate(&hrtc, &sDate, RTC_FORMAT_BCD) != HAL_OK)
  {
    Error_Handler();
  }

}

static void MX_SAI1_Init(void)
{

  hsai_BlockA1.Instance = SAI1_Block_A;
  hsai_BlockA1.Init.AudioMode = SAI_MODEMASTER_TX;
  hsai_BlockA1.Init.Synchro = SAI_ASYNCHRONOUS;
  hsai_BlockA1.Init.OutputDrive = SAI_OUTPUTDRIVE_DISABLE;
  hsai_BlockA1.Init.NoDivider = SAI_MASTERDIVIDER_ENABLE;
  hsai_BlockA1.Init.FIFOThreshold = SAI_FIFOTHRESHOLD_FULL;
  hsai_BlockA1.Init.AudioFrequency = SAI_AUDIO_FREQUENCY_48K;
  hsai_BlockA1.Init.SynchroExt = SAI_SYNCEXT_DISABLE;
  hsai_BlockA1.Init.MonoStereoMode = SAI_MONOMODE;
  hsai_BlockA1.Init.CompandingMode = SAI_NOCOMPANDING;
  hsai_BlockA1.Init.TriState = SAI_OUTPUT_NOTRELEASED;
  if (HAL_SAI_InitProtocol(&hsai_BlockA1, SAI_I2S_STANDARD, SAI_PROTOCOL_DATASIZE_16BIT, 2) != HAL_OK)
  {
    Error_Handler();
  }

}

static void MX_SPI2_Init(void)
{

  /* SPI2 parameter configuration*/
  hspi2.Instance = SPI2;
  hspi2.Init.Mode = SPI_MODE_MASTER;
  hspi2.Init.Direction = SPI_DIRECTION_2LINES_TXONLY;
  hspi2.Init.DataSize = SPI_DATASIZE_8BIT;
  hspi2.Init.CLKPolarity = SPI_POLARITY_LOW;
  hspi2.Init.CLKPhase = SPI_PHASE_1EDGE;
  hspi2.Init.NSS = SPI_NSS_SOFT;
  hspi2.Init.BaudRatePrescaler = SPI_BAUDRATEPRESCALER_16;
  hspi2.Init.FirstBit = SPI_FIRSTBIT_MSB;
  hspi2.Init.TIMode = SPI_TIMODE_DISABLE;
  hspi2.Init.CRCCalculation = SPI_CRCCALCULATION_DISABLE;
  hspi2.Init.CRCPolynomial = 0x0;
  hspi2.Init.NSSPMode = SPI_NSS_PULSE_DISABLE;
  hspi2.Init.NSSPolarity = SPI_NSS_POLARITY_LOW;
  hspi2.Init.FifoThreshold = SPI_FIFO_THRESHOLD_01DATA;
  hspi2.Init.TxCRCInitializationPattern = SPI_CRC_INITIALIZATION_ALL_ZERO_PATTERN;
  hspi2.Init.RxCRCInitializationPattern = SPI_CRC_INITIALIZATION_ALL_ZERO_PATTERN;
  hspi2.Init.MasterSSIdleness = SPI_MASTER_SS_IDLENESS_00CYCLE;
  hspi2.Init.MasterInterDataIdleness = SPI_MASTER_INTERDATA_IDLENESS_00CYCLE;
  hspi2.Init.MasterReceiverAutoSusp = SPI_MASTER_RX_AUTOSUSP_DISABLE;
  hspi2.Init.MasterKeepIOState = SPI_MASTER_KEEP_IO_STATE_DISABLE;
  hspi2.Init.IOSwap = SPI_IO_SWAP_DISABLE;
  if (HAL_SPI_Init(&hspi2) != HAL_OK)
  {
    Error_Handler();
  }

}

static void MX_DMA_Init(void)
{

  /* DMA controller clock enable */
  __HAL_RCC_DMA1_CLK_ENABLE();

  /* DMA interrupt init */
  /* DMA1_Stream0_IRQn interrupt configuration */
  HAL_NVIC_SetPriority(DMA1_Stream0_IRQn, 0, 0);
  HAL_NVIC_EnableIRQ(DMA1_Stream0_IRQn);

}

static void MX_GPIO_Init(void)
{
  GPIO_InitTypeDef GPIO_InitStruct = {0};

  /* GPIO Ports Clock Enable */
  __HAL_RCC_GPIOE_CLK_ENABLE();
  __HAL_RCC_GPIOC_CLK_ENABLE();
  __HAL_RCC_GPIOA_CLK_ENABLE();
  __HAL_RCC_GPIOB_CLK_ENABLE();
  __HAL_RCC_GPIOD_CLK_ENABLE();

  /*Configure GPIO pin Output Level */
  HAL_GPIO_WritePin(GPIO_Speaker_enable_GPIO_Port, GPIO_Speaker_enable_Pin, GPIO_PIN_SET);

  /*Configure GPIO pin Output Level */
  HAL_GPIO_WritePin(GPIOB, GPIO_PIN_12, GPIO_PIN_SET);

  /*Configure GPIO pin Output Level */
  HAL_GPIO_WritePin(GPIOD, GPIO_PIN_8, GPIO_PIN_SET);

  /*Configure GPIO pin Output Level */
  HAL_GPIO_WritePin(GPIOD, GPIO_PIN_1|GPIO_PIN_4, GPIO_PIN_RESET);

  /*Configure GPIO pin : GPIO_Speaker_enable_Pin */
  GPIO_InitStruct.Pin = GPIO_Speaker_enable_Pin;
  GPIO_InitStruct.Mode = GPIO_MODE_OUTPUT_PP;
  GPIO_InitStruct.Pull = GPIO_NOPULL;
  GPIO_InitStruct.Speed = GPIO_SPEED_FREQ_LOW;
  HAL_GPIO_Init(GPIO_Speaker_enable_GPIO_Port, &GPIO_InitStruct);

  /*Configure GPIO pins : BTN_PAUSE_Pin BTN_GAME_Pin BTN_TIME_Pin */
  GPIO_InitStruct.Pin = BTN_PAUSE_Pin|BTN_GAME_Pin|BTN_TIME_Pin;
  GPIO_InitStruct.Mode = GPIO_MODE_INPUT;
  GPIO_InitStruct.Pull = GPIO_PULLUP;
  HAL_GPIO_Init(GPIOC, &GPIO_InitStruct);

  /*Configure GPIO pin : BTN_PWR_Pin */
  GPIO_InitStruct.Pin = BTN_PWR_Pin;
  GPIO_InitStruct.Mode = GPIO_MODE_INPUT;
  GPIO_InitStruct.Pull = GPIO_NOPULL;
  HAL_GPIO_Init(BTN_PWR_GPIO_Port, &GPIO_InitStruct);

  /*Configure GPIO pin : PB12 */
  GPIO_InitStruct.Pin = GPIO_PIN_12;
  GPIO_InitStruct.Mode = GPIO_MODE_OUTPUT_PP;
  GPIO_InitStruct.Pull = GPIO_NOPULL;
  GPIO_InitStruct.Speed = GPIO_SPEED_FREQ_LOW;
  HAL_GPIO_Init(GPIOB, &GPIO_InitStruct);

  /*Configure GPIO pins : PD8 PD1 PD4 */
  GPIO_InitStruct.Pin = GPIO_PIN_8|GPIO_PIN_1|GPIO_PIN_4;
  GPIO_InitStruct.Mode = GPIO_MODE_OUTPUT_PP;
  GPIO_InitStruct.Pull = GPIO_NOPULL;
  GPIO_InitStruct.Speed = GPIO_SPEED_FREQ_LOW;
  HAL_GPIO_Init(GPIOD, &GPIO_InitStruct);

  /*Configure GPIO pins : BTN_A_Pin BTN_Left_Pin BTN_Down_Pin BTN_Right_Pin
                           BTN_Up_Pin BTN_B_Pin */
  GPIO_InitStruct.Pin = BTN_A_Pin|BTN_Left_Pin|BTN_Down_Pin|BTN_Right_Pin
                          |BTN_Up_Pin|BTN_B_Pin;
  GPIO_InitStruct.Mode = GPIO_MODE_INPUT;
  GPIO_InitStruct.Pull = GPIO_PULLUP;
  HAL_GPIO_Init(GPIOD, &GPIO_InitStruct);

}

/* USER CODE BEGIN 4 */

int __builtin_popcount (unsigned int x);

/* USER CODE END 4 */

/* MPU Configuration */

void MPU_Config(void)
{
  MPU_Region_InitTypeDef MPU_InitStruct = {0};

  /* Disables the MPU */
  HAL_MPU_Disable();
  /** Initializes and configures the Region and the memory to be protected
  */
  MPU_InitStruct.Enable = MPU_REGION_ENABLE;
  MPU_InitStruct.Number = MPU_REGION_NUMBER0;
  MPU_InitStruct.BaseAddress = 0x30000000;
  MPU_InitStruct.Size = MPU_REGION_SIZE_128KB;
  MPU_InitStruct.SubRegionDisable = 0x0;
  MPU_InitStruct.TypeExtField = MPU_TEX_LEVEL0;
  MPU_InitStruct.AccessPermission = MPU_REGION_FULL_ACCESS;
  MPU_InitStruct.DisableExec = MPU_INSTRUCTION_ACCESS_ENABLE;
  MPU_InitStruct.IsShareable = MPU_ACCESS_NOT_SHAREABLE;
  MPU_InitStruct.IsCacheable = MPU_ACCESS_NOT_CACHEABLE;
  MPU_InitStruct.IsBufferable = MPU_ACCESS_NOT_BUFFERABLE;

  HAL_MPU_ConfigRegion(&MPU_InitStruct);

  if (__builtin_popcount((size_t)&__NULLPTR_LENGTH__) == 1) {
    /* Only continue if a single bit set in __NULLPTR_LENGTH__.
     * The MPU can only handle memory sizes which are a power of 2 */
    MPU_InitStruct.Enable = MPU_REGION_ENABLE;
    MPU_InitStruct.Number = MPU_REGION_NUMBER1;
    MPU_InitStruct.BaseAddress = 0x00000000;
    /* 128B --> 0x06, 256B --> 0x07, 512B --> 0x08, ... */
    MPU_InitStruct.Size = ffs((size_t)&__NULLPTR_LENGTH__) - 2;
    MPU_InitStruct.SubRegionDisable = 0x0;
    MPU_InitStruct.TypeExtField = MPU_TEX_LEVEL0;
    MPU_InitStruct.AccessPermission = MPU_REGION_NO_ACCESS;
    MPU_InitStruct.DisableExec = MPU_INSTRUCTION_ACCESS_ENABLE;
    MPU_InitStruct.IsShareable = MPU_ACCESS_NOT_SHAREABLE;
    MPU_InitStruct.IsCacheable = MPU_ACCESS_NOT_CACHEABLE;
    MPU_InitStruct.IsBufferable = MPU_ACCESS_NOT_BUFFERABLE;

    HAL_MPU_ConfigRegion(&MPU_InitStruct);
  }

  // Stack redzone
  if (__builtin_popcount((size_t)&_Stack_Redzone_Size) == 1) {
    /* Only continue if a single bit set in _Stack_Redzone_Size.
     * The MPU can only handle memory sizes which are a power of 2 */
    MPU_InitStruct.Enable = MPU_REGION_ENABLE;
    MPU_InitStruct.Number = MPU_REGION_NUMBER2;
    MPU_InitStruct.BaseAddress = (uint32_t) &_stack_redzone;
    /* 128B --> 0x06, 256B --> 0x07, 512B --> 0x08, ... */
    MPU_InitStruct.Size = ffs((size_t)&_Stack_Redzone_Size) - 2;
    MPU_InitStruct.SubRegionDisable = 0x0;
    MPU_InitStruct.TypeExtField = MPU_TEX_LEVEL0;
    MPU_InitStruct.AccessPermission = MPU_REGION_NO_ACCESS;
    MPU_InitStruct.DisableExec = MPU_INSTRUCTION_ACCESS_DISABLE;
    MPU_InitStruct.IsShareable = MPU_ACCESS_NOT_SHAREABLE;
    MPU_InitStruct.IsCacheable = MPU_ACCESS_NOT_CACHEABLE;
    MPU_InitStruct.IsBufferable = MPU_ACCESS_NOT_BUFFERABLE;

    HAL_MPU_ConfigRegion(&MPU_InitStruct);
  }

#ifdef DISABLE_AHBRAM_DCACHE
  /** Initializes and configures the Region and the memory to be protected
  */
  MPU_InitStruct.Enable = MPU_REGION_ENABLE;
  MPU_InitStruct.Number = MPU_REGION_NUMBER3;
  MPU_InitStruct.BaseAddress = 0x24000000;
  MPU_InitStruct.Size = MPU_REGION_SIZE_512KB;
  MPU_InitStruct.SubRegionDisable = 0x0;
  MPU_InitStruct.TypeExtField = MPU_TEX_LEVEL0;
  MPU_InitStruct.AccessPermission = MPU_REGION_FULL_ACCESS;
  MPU_InitStruct.DisableExec = MPU_INSTRUCTION_ACCESS_ENABLE;
  MPU_InitStruct.IsShareable = MPU_ACCESS_NOT_SHAREABLE;
  MPU_InitStruct.IsCacheable = MPU_ACCESS_NOT_CACHEABLE;
  MPU_InitStruct.IsBufferable = MPU_ACCESS_NOT_BUFFERABLE;

  HAL_MPU_ConfigRegion(&MPU_InitStruct);
#endif

  /* Enables the MPU */
  HAL_MPU_Enable(MPU_HFNMI_PRIVDEF);

}

__attribute__((optimize("-O0"))) void Error_Handler(void)
{
  /* USER CODE BEGIN Error_Handler_Debug */
  /* User can add his own implementation to report the HAL error return state */

  // Hacky way to get the return address
  uint32_t stack;
  uint32_t *pStack = &stack;

  BSOD(BSOD_OTHER, (void *) pStack[3], 0);

  /* USER CODE END Error_Handler_Debug */
}

/************************ (C) COPYRIGHT STMicroelectronics *****END OF FILE****/
